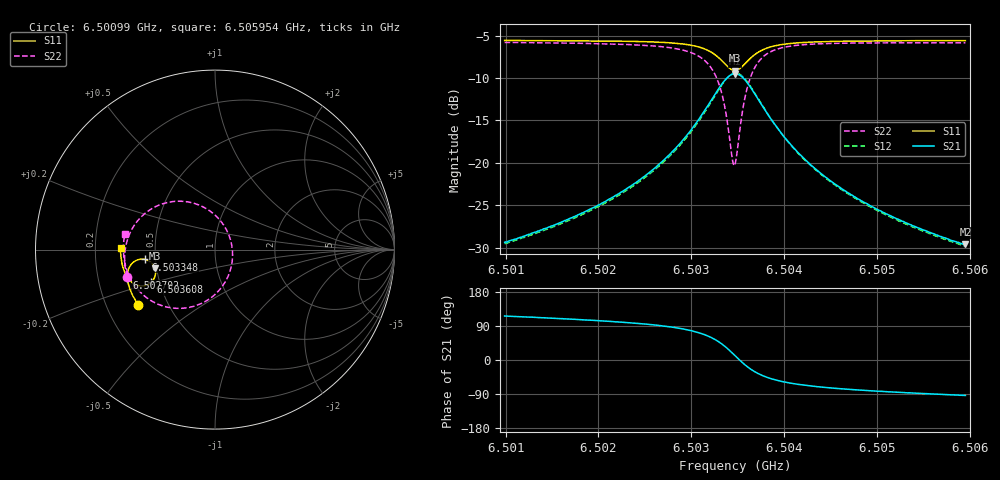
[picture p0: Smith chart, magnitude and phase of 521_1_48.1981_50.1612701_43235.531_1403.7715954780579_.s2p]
#  HZ  S  RI  R  50.00
! Rohde & Schwarz Vector Network Analyzer
! Rohde-Schwarz,ZNB20-2Port,1311601062101988,3.16
! Created: UTC 3/20/2024, 11:59:22 AM
! freq[Hz]  re:S11  im:S11  re:S21  im:S21  re:S12  im:S12  re:S22  im:S22
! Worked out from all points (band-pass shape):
!   401 points, 6.50099 GHz to 6.505954 GHz, reference 50 ohm
!   highest |S21| = -9.48 dB at 6.503472 GHz (marker M1); lowest = -29.6 dB at 6.505954 GHz (marker M2)
!   |S21| within 3 dB of the highest: 6.503224 GHz to 6.50372 GHz (495.8 kHz wide, 0.00762 % of centre)
!   lowest |S11| = -9.1 dB at 6.503472 GHz (marker M3), VSWR 2.08, Z = 24.5 - j5.88 ohm
!   |S11| at or under -10 dB: nowhere
!   |S22| runs from -20.3 to -5.8 dB; largest |S21 - S12| = 0.011
!   S11 on the Smith chart (normalised r, x): 6.50099 GHz: 0.34, -0.29; 6.502702 GHz: 0.33, -0.14; 6.503348 GHz: 0.44, -0.06; 6.503608 GHz: 0.45, -0.19; 6.505954 GHz: 0.31, +0.01
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6.5009896e9  -0.4277 -0.308  -0.0149 0.0305  -0.0132 0.0306  -0.4905 -0.1519
6.5018211e9  -0.4635 -0.2462  -0.0141 0.0486  -0.0119 0.0481  -0.5032 -0.063
6.5022803e9  -0.4795 -0.2051  -0.0111 0.0682  -0.0082 0.067  -0.4998 0.00284
6.5026526e9  -0.4881 -0.1636  -0.00188 0.098  0.00158 0.0956  -0.4797 0.0782
6.5027023e9  -0.4886 -0.1571  0.00056 0.1036  0.00403 0.1011  -0.4743 0.091
6.5029381e9  -0.4855 -0.1201  0.023 0.1402  0.0265 0.136  -0.4275 0.1649
6.5030994e9  -0.4713 -0.088  0.0619 0.1759  0.0645 0.1704  -0.3521 0.2282
6.5032483e9  -0.4339 -0.0582  0.1426 0.2047  0.1433 0.1989  -0.2048 0.2695
6.5033476e9  -0.3879 -0.055  0.2332 0.1888  0.2333 0.1845  -0.0482 0.228
6.5034345e9  -0.3452 -0.0834  0.3111 0.1153  0.3136 0.1115  0.0763 0.0834
6.5034593e9  -0.337 -0.0976  0.3246 0.0837  0.3279 0.0793  0.0933 0.024
6.5034717e9  -0.3343 -0.1053  0.329 0.067  0.3325 0.062  0.0973 -0.00703
6.5034965e9  -0.3312 -0.1214  0.3326 0.0328  0.3366 0.0265  0.0953 -0.0699
6.5035338e9  -0.3333 -0.1452  0.3255 -0.0172  0.3292 -0.0253  0.0687 -0.1579
6.5036082e9  -0.3551 -0.1821  0.2796 -0.093  0.2798 -0.1041  -0.0399 -0.2804
6.5037199e9  -0.4004 -0.2021  0.1932 -0.1384  0.1885 -0.148  -0.2144 -0.3272
6.5038813e9  -0.4475 -0.1926  0.11 -0.1349  0.1033 -0.14  -0.3643 -0.2793
6.504055e9  -0.4753 -0.1713  0.0647 -0.1143  0.0588 -0.1166  -0.4374 -0.2135
6.5043032e9  -0.4962 -0.1412  0.0343 -0.0893  0.0297 -0.0899  -0.4815 -0.1405
6.5047003e9  -0.5126 -0.0997  0.0143 -0.0645  0.0112 -0.0642  -0.5048 -0.061
6.5051347e9  -0.5214 -0.0594  0.00517 -0.0488  0.00296 -0.0481  -0.5103 0.000652
6.5059538e9  -0.5264 0.0102  -0.00207 -0.0329  -0.00329 -0.0321  -0.5029 0.0881
